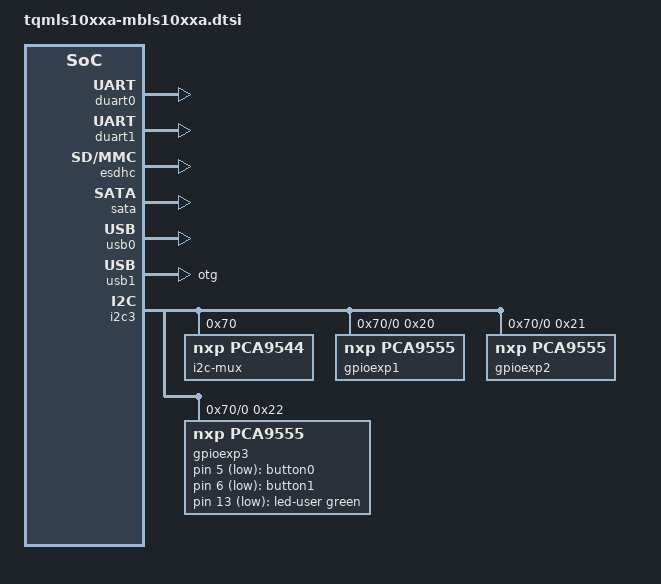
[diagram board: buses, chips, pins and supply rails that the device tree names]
// SPDX-License-Identifier: (GPL-2.0-or-later OR MIT)
/*
 * Copyright (c) 2018-2023 TQ-Systems GmbH <linux@ew.tq-group.com>,
 * D-82229 Seefeld, Germany.
 * Author: Gregor Herburger, Timo Herbrecher
 *
 * Device Tree Include file for MBLS10xxA from TQ
 */

#include <dt-bindings/input/input.h>
#include <dt-bindings/gpio/gpio.h>
#include <dt-bindings/leds/common.h>

/ {
	gpio-keys-polled {
		compatible = "gpio-keys-polled";
		poll-interval = <100>;
		autorepeat;

		button-0 {
			label = "button0";
			gpios = <&gpioexp3 5 GPIO_ACTIVE_LOW>;
			linux,code = <KEY_F1>;
		};

		button-1 {
			label = "button1";
			gpios = <&gpioexp3 6 GPIO_ACTIVE_LOW>;
			linux,code = <KEY_F2>;
		};
	};

	leds {
		compatible = "gpio-leds";

		led-user {
			gpios = <&gpioexp3 13 GPIO_ACTIVE_LOW>;
			color = <LED_COLOR_ID_GREEN>;
			function = LED_FUNCTION_HEARTBEAT;
			linux,default-trigger = "heartbeat";
		};
	};
};

&duart0 {
	status = "okay";
};

&duart1 {
	status = "okay";
};

&esdhc {
	status = "okay";
};

&sata {
	status = "okay";
};

&usb0 {
	status = "okay";
};

&usb1 {
	status = "okay";
	dr_mode = "otg";
};

&i2c3 {
	status = "okay";

	i2c-mux@70 {
		compatible = "nxp,pca9544";
		reg = <0x70>;
		#address-cells = <1>;
		#size-cells = <0>;

		i2c@0 {
			#address-cells = <1>;
			#size-cells = <0>;
			reg = <0x0>;

			gpioexp1: pca9555@20 {
				compatible = "nxp,pca9555";
				reg = <0x20>;
				gpio-controller;
				#gpio-cells = <2>;
			};

			gpioexp2: pca9555@21 {
				compatible = "nxp,pca9555";
				reg = <0x21>;
				gpio-controller;
				#gpio-cells = <2>;
			};

			gpioexp3: pca9555@22 {
				compatible = "nxp,pca9555";
				reg = <0x22>;
				gpio-controller;
				#gpio-cells = <2>;
			};
		};

		sfp1_i2c: i2c@1 {
			#address-cells = <1>;
			#size-cells = <0>;
			reg = <0x1>;
		};

		sfp2_i2c: i2c@2 {
			#address-cells = <1>;
			#size-cells = <0>;
			reg = <0x2>;
		};

		i2c@3 {
			#address-cells = <1>;
			#size-cells = <0>;
			reg = <0x3>;
		};
	};
};
